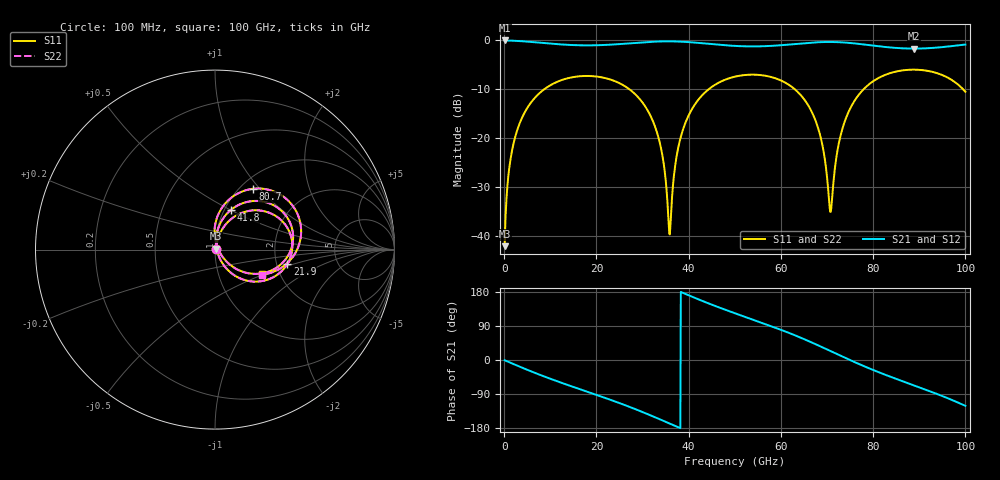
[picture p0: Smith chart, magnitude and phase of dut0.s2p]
! Touchstone file exported from HFSS 2026.1.0
!  File:  C:/ffzhzh/LocalFiles/Ansys_Project_Files/temp_train_TSV_RDL_0_1783611041_26216.aedt
!  Generated:  11:36:48 PM Jul  9, 2026
!  Design:  TSV_RDL
!  Project:  temp_train_TSV_RDL_0_1783611041_26216
! Variables:
!  h_bsmrdl = 4.39um
!  h_ox = 20um
!  h_rdl = 5um
!  h_sub = 90.4um
!  h_tmrdl = 3.04um
!  h_tsv = 90.4um
!  h_via = 3um
!  l_bsmrdl = 118.58um
!  l_sub = 1311.94um
!  l_tmrdl = 113.94um
!  m_sub = 200um
!  pitch = 59.24um
!  r_tsv = 13.35um
!  s_tmrdl = 10um
!  w_bsmrdl = 12.1um
!  w_sub = 500um
!  w_tmrdl = 21.38um
!  x_tsv_center1 = 124.63um
!  x_tsv_center2 = 255.31um
!  x_tsv_center3 = 390.63um
!  x_tsv_center4 = 521.31um
!  x_tsv_center5 = 656.63um
!  x_tsv_center6 = 787.31um
# GHz S MA R 50.000000
! Terminal data exported
! Port[1] = TM_RDL1_1_T1
! Port[2] = TM_RDL5_1_T1
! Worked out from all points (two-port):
!   1000 points, 100 MHz to 100 GHz, reference 50 ohm
!   highest |S21| = -0.06 dB at 100 MHz (marker M1); lowest = -1.7 dB at 88.9 GHz (marker M2)
!   |S21| within 3 dB of the highest: start of sweep to end of sweep
!   lowest |S11| = -42.0 dB at 100 MHz (marker M3), VSWR 1.02, Z = 50.6 + j0.475 ohm
!   |S11| at or under -10 dB: start of sweep to 8.702 GHz; 27.14 GHz to 44.36 GHz (17.22 GHz wide, 48.2 % of centre); 63 GHz to 77.94 GHz (14.94 GHz wide, 21.2 % of centre) (the widest 3 of 4)
!   |S22| runs from -42.0 to -6.0 dB; largest |S21 - S12| = 1.7e-14
!   S11 on the Smith chart (normalised r, x): 100 MHz: 1.01, +0.01; 21.9 GHz: 2.29, -0.44; 41.8 GHz: 1.07, +0.50; 80.7 GHz: 1.14, +0.92; 100 GHz: 1.62, -0.49
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0.1  0.007929 36.3  0.9936 -0.6  0.9936 -0.6  0.007929 36.3
! Gamma 0 0 0 0
! Port Impedance 50 0 50 0
1.5  0.06605 74.4  0.9891 -7.9  0.9891 -7.9  0.06605 74.4
4.2  0.174 64.5  0.9734 -21.8  0.9734 -21.8  0.174 64.5
9.3  0.3309 41.2  0.9286 -46.3  0.9286 -46.3  0.3309 41.2
16.8  0.4301 9.6  0.8865 -78.7  0.8865 -78.7  0.4301 9.6
21.9  0.4108 -11.1  0.8942 -100.1  0.8942 -100.1  0.4108 -11.2
29.1  0.2604 -42.4  0.9442 -132.9  0.9442 -132.9  0.2604 -42.5
33.4  0.104 -60.3  0.9697 -154.6  0.9697 -154.6  0.104 -60.5
35.9  0.01044 18.5  0.973 -167.8  0.973 -167.8  0.01026 18.7
38  0.09084 83.5  0.9674 -178.8  0.9674 -178.8  0.09085 83.6
41.8  0.2369 68.4  0.9413 161.6  0.9413 161.6  0.2369 68.3
50.1  0.4255 31.8  0.8737 123.1  0.8737 123.1  0.4255 31.7
60.1  0.3865 -10.3  0.889 79.3  0.889 79.3  0.3865 -10.4
66.7  0.1855 -39.8  0.9448 46.2  0.9448 46.2  0.1854 -40.1
68.9  0.08967 -45.8  0.9563 34.1  0.9563 34.1  0.0895 -46.4
70.8  0.01774 29.7  0.9587 23.4  0.9587 23.4  0.01687 30.0
72.4  0.08133 91.1  0.9545 14.3  0.9545 14.3  0.08115 91.6
74  0.1556 88.3  0.9449 5.4  0.9449 5.4  0.1555 88.5
80.7  0.4 58.0  0.8724 -29.8  0.8724 -29.8  0.4 57.9
83.4  0.4568 45.9  0.8455 -42.6  0.8455 -42.6  0.4568 45.8
88.9  0.5006 22.4  0.821 -67.2  0.821 -67.2  0.5006 22.3
100  0.2978 -27.7  0.9028 -121.0  0.9028 -121.0  0.2978 -28.0
